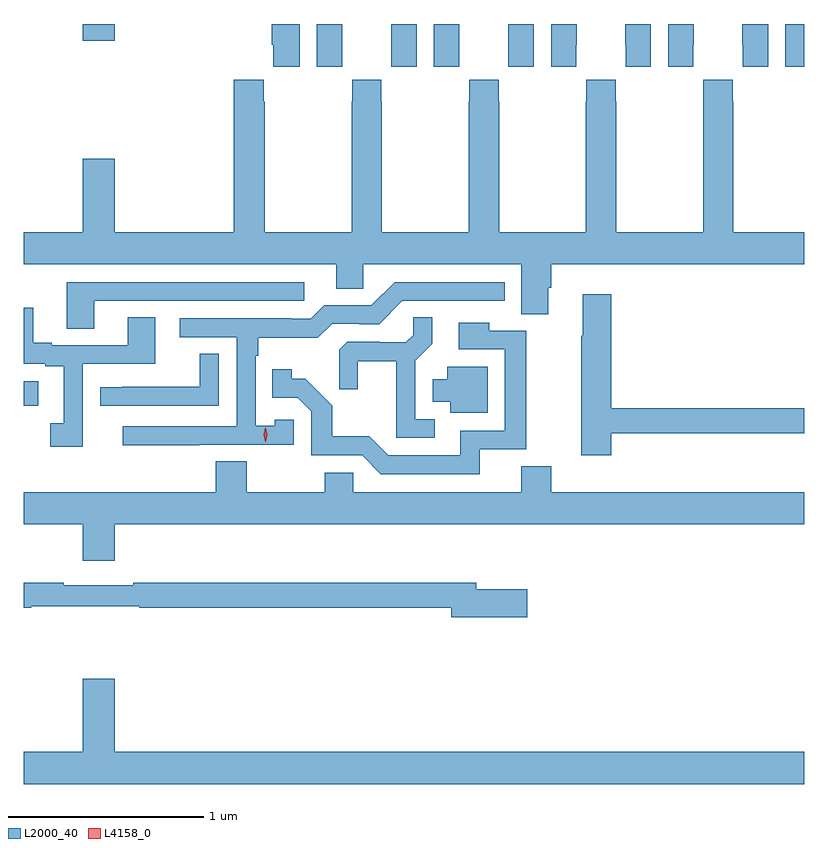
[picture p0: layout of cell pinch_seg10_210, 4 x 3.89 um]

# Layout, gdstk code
import gdstk
lib = gdstk.Library(unit=1e-6, precision=1e-09)
def R(c, l, rs):  # rectangles x0, y0, x1, y1
    for r in rs: c.add(gdstk.rectangle(r[:2], r[2:], *l))
def P(c, l, *ps):  # polygons
    for p in ps: c.add(gdstk.Polygon(p, *l))
L2000_40 = (2000, 40)
L4158_0 = (4158, 0)

pinch_seg10_210 = lib.new_cell('pinch_seg10_210')
R(pinch_seg10_210, L2000_40, [(644.226,1318.239,644.302,1318.363), (648.128,1319.976,648.226,1320.194), (644.528,1320.108,644.692,1320.194)])
P(pinch_seg10_210, L2000_40, [(645.64,1320.194),(645.497,1320.194),(645.497,1320.088),(645.506,1320.088),(645.506,1319.976),(645.64,1319.976)],
  [(645.858,1320.088),(645.859,1320.088),(645.859,1320.194),(645.728,1320.194),(645.728,1319.976),(645.858,1319.976)],
  [(646.24,1320.194),(646.109,1320.194),(646.109,1320.088),(646.11,1320.088),(646.11,1319.976),(646.24,1319.976)],
  [(646.458,1320.088),(646.459,1320.088),(646.459,1320.194),(646.328,1320.194),(646.328,1319.976),(646.458,1319.976)],
  [(646.84,1320.194),(646.709,1320.194),(646.709,1320.088),(646.71,1320.088),(646.71,1319.976),(646.84,1319.976)],
  [(647.058,1320.088),(647.059,1320.088),(647.059,1320.194),(646.928,1320.194),(646.928,1319.976),(647.058,1319.976)],
  [(647.44,1320.194),(647.309,1320.194),(647.309,1320.088),(647.31,1320.088),(647.31,1319.976),(647.44,1319.976)],
  [(647.658,1320.088),(647.659,1320.088),(647.659,1320.194),(647.528,1320.194),(647.528,1319.976),(647.658,1319.976)],
  [(648.04,1320.194),(647.909,1320.194),(647.909,1320.088),(647.91,1320.088),(647.91,1319.976),(648.04,1319.976)],
  [(646.915,1318.842),(646.928,1318.842),(646.928,1318.964),(648.226,1318.964),(648.226,1319.128),(647.862,1319.128),(647.862,1319.795),(647.859,1319.795),(647.859,1319.908),(647.709,1319.908),(647.709,1319.795),(647.707,1319.795),(647.707,1319.128),(647.262,1319.128),(647.262,1319.795),(647.259,1319.795),(647.259,1319.908),(647.109,1319.908),(647.109,1319.795),(647.107,1319.795),(647.107,1319.128),(646.662,1319.128),(646.662,1319.795),(646.659,1319.795),(646.659,1319.908),(646.509,1319.908),(646.509,1319.795),(646.507,1319.795),(646.507,1319.128),(646.062,1319.128),(646.062,1319.795),(646.059,1319.795),(646.059,1319.908),(645.909,1319.908),(645.909,1319.795),(645.907,1319.795),(645.907,1319.128),(645.462,1319.128),(645.462,1319.795),(645.455,1319.795),(645.455,1319.908),(645.302,1319.908),(645.302,1319.128),(644.692,1319.128),(644.692,1319.503),(644.528,1319.503),(644.528,1319.128),(644.226,1319.128),(644.226,1318.964),(645.827,1318.964),(645.827,1318.837),(645.966,1318.837),(645.966,1318.964),(646.775,1318.964),(646.775,1318.708),(646.915,1318.708)],
  [(644.587,1318.776),(645.664,1318.776),(645.664,1318.872),(644.447,1318.872),(644.447,1318.633),(644.587,1318.633)],
  [(645.125,1318.038),(645.609,1318.038),(645.609,1318.167),(645.513,1318.167),(645.513,1318.135),(645.414,1318.135),(645.414,1318.493),(645.427,1318.493),(645.427,1318.586),(645.734,1318.586),(645.807,1318.659),(645.946,1318.659),(645.946,1318.656),(646.047,1318.656),(646.167,1318.776),(646.69,1318.776),(646.69,1318.872),(646.128,1318.872),(646.008,1318.752),(645.765,1318.752),(645.696,1318.683),(645.596,1318.683),(645.596,1318.686),(645.027,1318.686),(645.027,1318.59),(645.318,1318.59),(645.318,1318.134),(644.733,1318.134),(644.733,1318.036),(645.125,1318.036)],
  [(647.237,1318.098),(648.226,1318.098),(648.226,1318.226),(647.237,1318.226),(647.237,1318.81),(647.09,1318.81),(647.09,1318.597),(647.083,1318.597),(647.083,1317.984),(647.237,1317.984)],
  [(644.529,1318.452),(644.899,1318.452),(644.899,1318.691),(644.759,1318.691),(644.759,1318.548),(644.371,1318.548),(644.371,1318.561),(644.275,1318.561),(644.275,1318.741),(644.226,1318.741),(644.226,1318.452),(644.336,1318.452),(644.336,1318.44),(644.432,1318.44),(644.432,1318.149),(644.361,1318.149),(644.361,1318.029),(644.529,1318.029)],
  [(646.333,1318.17),(646.233,1318.17),(646.233,1318.469),(646.319,1318.555),(646.319,1318.691),(646.221,1318.691),(646.221,1318.6),(646.184,1318.563),(646.05,1318.563),(646.05,1318.566),(645.885,1318.566),(645.844,1318.525),(645.844,1318.323),(645.938,1318.323),(645.938,1318.466),(646.136,1318.466),(646.136,1318.074),(646.333,1318.074)],
  [(646.562,1318.014),(646.801,1318.014),(646.801,1318.623),(646.611,1318.623),(646.611,1318.663),(646.455,1318.663),(646.455,1318.527),(646.692,1318.527),(646.692,1318.11),(646.463,1318.11),(646.463,1317.984),(646.095,1317.984),(645.997,1318.083),(645.808,1318.083),(645.808,1318.238),(645.67,1318.376),(645.6,1318.376),(645.6,1318.426),(645.499,1318.426),(645.499,1318.278),(645.63,1318.278),(645.699,1318.209),(645.699,1317.984),(645.96,1317.984),(646.056,1317.888),(646.562,1317.888)],
  [(645.225,1318.505),(645.127,1318.505),(645.127,1318.335),(644.731,1318.335),(644.731,1318.334),(644.619,1318.334),(644.619,1318.239),(645.225,1318.239)],
  [(646.603,1318.438),(646.397,1318.438),(646.397,1318.375),(646.322,1318.375),(646.322,1318.259),(646.412,1318.259),(646.412,1318.202),(646.603,1318.202)],
  [(644.692,1317.632),(648.226,1317.632),(648.226,1317.796),(646.928,1317.796),(646.928,1317.929),(646.775,1317.929),(646.775,1317.796),(645.915,1317.796),(645.915,1317.894),(645.769,1317.894),(645.769,1317.796),(645.369,1317.796),(645.369,1317.953),(645.209,1317.953),(645.209,1317.796),(644.226,1317.796),(644.226,1317.632),(644.528,1317.632),(644.528,1317.444),(644.692,1317.444)],
  [(646.807,1317.297),(646.546,1317.297),(646.546,1317.331),(644.788,1317.331),(644.788,1317.318),(644.432,1317.318),(644.432,1317.331),(644.226,1317.331),(644.226,1317.202),(644.264,1317.202),(644.264,1317.21),(644.817,1317.21),(644.817,1317.202),(646.418,1317.202),(646.418,1317.155),(646.807,1317.155)],
  [(648.226,1316.464),(644.692,1316.464),(644.692,1316.839),(644.528,1316.839),(644.528,1316.464),(644.226,1316.464),(644.226,1316.3),(648.226,1316.3)])
P(pinch_seg10_210, L4158_0, [(645.465,1318.053),(645.465,1318.053),(645.455,1318.089),(645.465,1318.125),(645.465,1318.125),(645.466,1318.125),(645.475,1318.089),(645.466,1318.053)])

lib.write_gds('pinch_seg10_210.gds')
